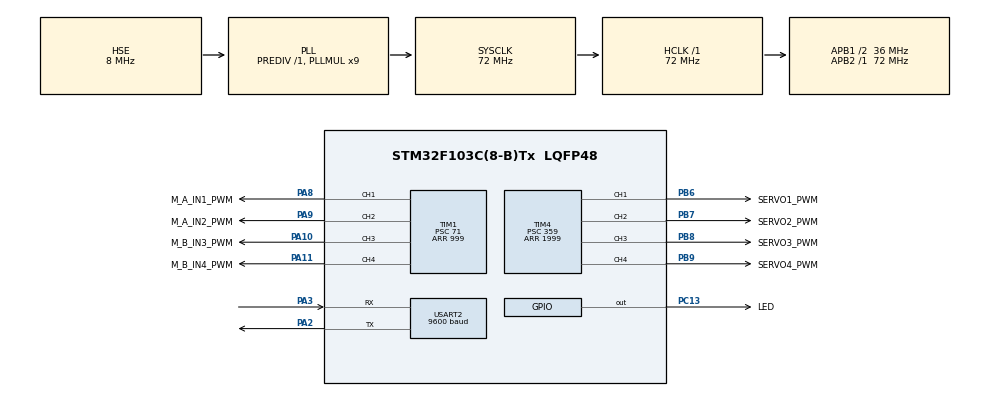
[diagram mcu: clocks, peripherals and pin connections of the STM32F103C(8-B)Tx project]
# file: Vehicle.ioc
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Mcu.Family=STM32F1
Mcu.Name=STM32F103C(8-B)Tx
Mcu.Package=LQFP48
NVIC.PriorityGroup=NVIC_PRIORITYGROUP_4
NVIC.USART2_IRQn=true\:0\:0\:false\:false\:true\:true\:true\:true
PA10.GPIO_Label=M_B_IN3_PWM
PA10.Signal=S_TIM1_CH3
PA11.GPIO_Label=M_B_IN4_PWM
PA11.Signal=S_TIM1_CH4
PA13.Mode=Serial_Wire
PA13.Signal=SYS_JTMS-SWDIO
PA14.Mode=Serial_Wire
PA14.Signal=SYS_JTCK-SWCLK
PA2.Mode=Asynchronous
PA2.Signal=USART2_TX
PA3.Mode=Asynchronous
PA3.Signal=USART2_RX
PA8.GPIO_Label=M_A_IN1_PWM
PA8.Signal=S_TIM1_CH1
PA9.GPIO_Label=M_A_IN2_PWM
PA9.Signal=S_TIM1_CH2
PB6.GPIO_Label=SERVO1_PWM
PB6.Signal=S_TIM4_CH1
PB7.GPIO_Label=SERVO2_PWM
PB7.Signal=S_TIM4_CH2
PB8.GPIO_Label=SERVO3_PWM
PB8.Signal=S_TIM4_CH3
PB9.GPIO_Label=SERVO4_PWM
PB9.Signal=S_TIM4_CH4
PC13-TAMPER-RTC.GPIO_Label=LED
PC13-TAMPER-RTC.Signal=GPIO_Output
PD0-OSC_IN.Mode=HSE-External-Oscillator
PD0-OSC_IN.Signal=RCC_OSC_IN
PD1-OSC_OUT.Mode=HSE-External-Oscillator
PD1-OSC_OUT.Signal=RCC_OSC_OUT
ProjectManager.HeapSize=0x200
ProjectManager.StackSize=0x400
ProjectManager.TargetToolchain=STM32CubeIDE
RCC.AHBFreq_Value=72000000
RCC.APB1CLKDivider=RCC_HCLK_DIV2
RCC.APB1Freq_Value=36000000
RCC.APB1TimFreq_Value=72000000
RCC.APB2Freq_Value=72000000
RCC.APB2TimFreq_Value=72000000
RCC.HCLKFreq_Value=72000000
RCC.PLLMUL=RCC_PLL_MUL9
RCC.PLLSourceVirtual=RCC_PLLSOURCE_HSE
RCC.SYSCLKFreq_VALUE=72000000
RCC.SYSCLKSource=RCC_SYSCLKSOURCE_PLLCLK
RCC.USBFreq_Value=72000000
SH.S_TIM1_CH1.0=TIM1_CH1,PWM Generation1 CH1
SH.S_TIM1_CH2.0=TIM1_CH2,PWM Generation2 CH2
SH.S_TIM1_CH3.0=TIM1_CH3,PWM Generation3 CH3
SH.S_TIM1_CH4.0=TIM1_CH4,PWM Generation4 CH4
SH.S_TIM4_CH1.0=TIM4_CH1,PWM Generation1 CH1
SH.S_TIM4_CH2.0=TIM4_CH2,PWM Generation2 CH2
SH.S_TIM4_CH3.0=TIM4_CH3,PWM Generation3 CH3
SH.S_TIM4_CH4.0=TIM4_CH4,PWM Generation4 CH4
TIM1.Channel-PWM\ Generation1\ CH1=TIM_CHANNEL_1
TIM1.Channel-PWM\ Generation2\ CH2=TIM_CHANNEL_2
TIM1.Channel-PWM\ Generation3\ CH3=TIM_CHANNEL_3
TIM1.Channel-PWM\ Generation4\ CH4=TIM_CHANNEL_4
TIM1.Period=999
TIM1.Prescaler=71
TIM4.Channel-PWM\ Generation1\ CH1=TIM_CHANNEL_1
TIM4.Channel-PWM\ Generation2\ CH2=TIM_CHANNEL_2
TIM4.Channel-PWM\ Generation3\ CH3=TIM_CHANNEL_3
TIM4.Channel-PWM\ Generation4\ CH4=TIM_CHANNEL_4
TIM4.Period=1999
TIM4.Prescaler=359
TIM4.Pulse-PWM\ Generation1\ CH1=150
USART2.BaudRate=9600
USART2.VirtualMode=VM_ASYNC
VP_TIM1_VS_ClockSourceINT.Mode=Internal
VP_TIM4_VS_ClockSourceINT.Mode=Internal
board=custom

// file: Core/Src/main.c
/* USER CODE BEGIN Header */
/**
  ******************************************************************************
  * @file           : main.c
  * @brief          : Main program body
  ******************************************************************************
  * @attention
  *
  * Copyright (c) 2025 STMicroelectronics.
  * All rights reserved.
  *
  * This software is licensed under terms that can be found in the LICENSE file
  * in the root directory of this software component.
  * If no LICENSE file comes with this software, it is provided AS-IS.
  *
  ******************************************************************************
  */
/* USER CODE END Header */
#include "main.h"

/* USER CODE BEGIN Includes */
#include <string.h> // Để dùng strlen, strcpy, strncpy
#include <stdlib.h> // Để dùng atoi
#include <stdbool.h>
#include <stdio.h>
/* USER CODE END Includes */

TIM_HandleTypeDef htim1;
TIM_HandleTypeDef htim4;

UART_HandleTypeDef huart2;

/* USER CODE BEGIN PV */
#define RX_COMMAND_BUFFER_SIZE 32 // Kích thước buffer nhận lệnh
uint8_t uart_rx_char_buffer[1];   // Buffer nhận từng ký tự
uint8_t command_line_buffer[RX_COMMAND_BUFFER_SIZE];
uint8_t command_line_idx = 0;

uint16_t car_motor_speed = 255; // Tốc độ xe (0-255)

/* USER CODE END PV */

void SystemClock_Config(void);
static void MX_GPIO_Init(void);
static void MX_USART2_UART_Init(void);
static void MX_TIM1_Init(void);
static void MX_TIM4_Init(void);
/* USER CODE BEGIN PFP */
void moveForward(uint16_t speed);
void moveBackward(uint16_t speed);
void turnLeft(uint16_t speed);
void turnRight(uint16_t speed);
void stopMotors(void);
void process_command(char* cmd_str);
void set_servo_angle(uint8_t servo_num, uint8_t angle);
long map_value(long x, long in_min, long in_max, long out_min, long out_max); // Cần hàm map này
/* USER CODE END PFP */

int main(void)
{

  /* MCU Configuration--------------------------------------------------------*/

  /* Reset of all peripherals, Initializes the Flash interface and the Systick. */
  HAL_Init();

  /* Configure the system clock */
  SystemClock_Config();

  /* Initialize all configured peripherals */
  MX_GPIO_Init();
  MX_USART2_UART_Init();
  MX_TIM1_Init();
  MX_TIM4_Init();
  /* USER CODE BEGIN 2 */
  // Khởi động PWM cho L298N ENA/ENB
  HAL_TIM_PWM_Start(&htim1, TIM_CHANNEL_1); // M_A_IN1_PWM (PA8)
  HAL_TIM_PWM_Start(&htim1, TIM_CHANNEL_2); // M_A_IN2_PWM (PA9)
  HAL_TIM_PWM_Start(&htim1, TIM_CHANNEL_3); // M_B_IN3_PWM (PA10)
  HAL_TIM_PWM_Start(&htim1, TIM_CHANNEL_4); // M_B_IN4_PWM (PA11)

   stopMotors(); // Hàm này sẽ đặt ENA/ENB pulse về 0

   // Khởi động PWM cho 4 Servo
   HAL_TIM_PWM_Start(&htim4, TIM_CHANNEL_1); // Servo 1 trên PB6
   HAL_TIM_PWM_Start(&htim4, TIM_CHANNEL_2); // Servo 2 trên PB7
   HAL_TIM_PWM_Start(&htim4, TIM_CHANNEL_3); // Servo 3 trên PB8
   HAL_TIM_PWM_Start(&htim4, TIM_CHANNEL_4); // Servo 4 trên PB9

   // Đặt servo về vị trí giữa (90 độ) ban đầu
   set_servo_angle(1, 00);
   set_servo_angle(2, 30);
   set_servo_angle(3, 30);
   set_servo_angle(4, 00);
  /* USER CODE END 2 */

  /* Infinite loop */
  /* USER CODE BEGIN WHILE */
  while (1)
  {
	  // Nhận dữ liệu từ UART (HC-05) từng ký tự một
	   if (HAL_UART_Receive(&huart2, uart_rx_char_buffer, 1, 1) == HAL_OK) { // Timeout nhỏ
	     if (uart_rx_char_buffer[0] == '\n') { // Nếu là ký tự kết thúc lệnh
	       if (command_line_idx > 0) { // Nếu đã có dữ liệu trong buffer
	         command_line_buffer[command_line_idx] = '\0'; // Kết thúc chuỗi

	         // --- DEBUG trên bluetooth terminal  ---
	         char debug_received_line[RX_COMMAND_BUFFER_SIZE + 30];
	         sprintf(debug_received_line, "Car RX Line: [%s] (len:%d)\r\n", (char*)command_line_buffer, strlen((char*)command_line_buffer));
	         HAL_UART_Transmit(&huart2, (uint8_t*)debug_received_line, strlen(debug_received_line), 100);
	         // ------------------------

	         process_command((char*)command_line_buffer);
	         command_line_idx = 0; // Reset buffer cho lệnh tiếp theo
	       } else {
	         // Nhận được \n rỗng, có thể bỏ qua hoặc reset command_line_idx
	         command_line_idx = 0;
	       }
	     } else if (command_line_idx < RX_COMMAND_BUFFER_SIZE - 1) {
	       if(uart_rx_char_buffer[0] != '\r'){ // Bỏ qua ký tự \r nếu có
	            command_line_buffer[command_line_idx++] = uart_rx_char_buffer[0];
	       }
	     } else {
	       // Tràn buffer, reset
	       HAL_UART_Transmit(&huart2, (uint8_t*)"RX Buffer Overflow!\r\n", 20, 100);
	       command_line_idx = 0;
	     }
	     }
    /* USER CODE END WHILE */

  }
}

void SystemClock_Config(void)
{
  RCC_OscInitTypeDef RCC_OscInitStruct = {0};
  RCC_ClkInitTypeDef RCC_ClkInitStruct = {0};

  /** Initializes the RCC Oscillators according to the specified parameters
  * in the RCC_OscInitTypeDef structure.
  */
  RCC_OscInitStruct.OscillatorType = RCC_OSCILLATORTYPE_HSE;
  RCC_OscInitStruct.HSEState = RCC_HSE_ON;
  RCC_OscInitStruct.HSEPredivValue = RCC_HSE_PREDIV_DIV1;
  RCC_OscInitStruct.HSIState = RCC_HSI_ON;
  RCC_OscInitStruct.PLL.PLLState = RCC_PLL_ON;
  RCC_OscInitStruct.PLL.PLLSource = RCC_PLLSOURCE_HSE;
  RCC_OscInitStruct.PLL.PLLMUL = RCC_PLL_MUL9;
  if (HAL_RCC_OscConfig(&RCC_OscInitStruct) != HAL_OK)
  {
    Error_Handler();
  }

  /** Initializes the CPU, AHB and APB buses clocks
  */
  RCC_ClkInitStruct.ClockType = RCC_CLOCKTYPE_HCLK|RCC_CLOCKTYPE_SYSCLK
                              |RCC_CLOCKTYPE_PCLK1|RCC_CLOCKTYPE_PCLK2;
  RCC_ClkInitStruct.SYSCLKSource = RCC_SYSCLKSOURCE_PLLCLK;
  RCC_ClkInitStruct.AHBCLKDivider = RCC_SYSCLK_DIV1;
  RCC_ClkInitStruct.APB1CLKDivider = RCC_HCLK_DIV2;
  RCC_ClkInitStruct.APB2CLKDivider = RCC_HCLK_DIV1;

  if (HAL_RCC_ClockConfig(&RCC_ClkInitStruct, FLASH_LATENCY_2) != HAL_OK)
  {
    Error_Handler();
  }
}

static void MX_TIM1_Init(void)
{

  TIM_ClockConfigTypeDef sClockSourceConfig = {0};
  TIM_MasterConfigTypeDef sMasterConfig = {0};
  TIM_OC_InitTypeDef sConfigOC = {0};
  TIM_BreakDeadTimeConfigTypeDef sBreakDeadTimeConfig = {0};

  htim1.Instance = TIM1;
  htim1.Init.Prescaler = 71;
  htim1.Init.CounterMode = TIM_COUNTERMODE_UP;
  htim1.Init.Period = 999;
  htim1.Init.ClockDivision = TIM_CLOCKDIVISION_DIV1;
  htim1.Init.RepetitionCounter = 0;
  htim1.Init.AutoReloadPreload = TIM_AUTORELOAD_PRELOAD_DISABLE;
  if (HAL_TIM_Base_Init(&htim1) != HAL_OK)
  {
    Error_Handler();
  }
  sClockSourceConfig.ClockSource = TIM_CLOCKSOURCE_INTERNAL;
  if (HAL_TIM_ConfigClockSource(&htim1, &sClockSourceConfig) != HAL_OK)
  {
    Error_Handler();
  }
  if (HAL_TIM_PWM_Init(&htim1) != HAL_OK)
  {
    Error_Handler();
  }
  sMasterConfig.MasterOutputTrigger = TIM_TRGO_RESET;
  sMasterConfig.MasterSlaveMode = TIM_MASTERSLAVEMODE_DISABLE;
  if (HAL_TIMEx_MasterConfigSynchronization(&htim1, &sMasterConfig) != HAL_OK)
  {
    Error_Handler();
  }
  sConfigOC.OCMode = TIM_OCMODE_PWM1;
  sConfigOC.Pulse = 0;
  sConfigOC.OCPolarity = TIM_OCPOLARITY_HIGH;
  sConfigOC.OCNPolarity = TIM_OCNPOLARITY_HIGH;
  sConfigOC.OCFastMode = TIM_OCFAST_DISABLE;
  sConfigOC.OCIdleState = TIM_OCIDLESTATE_RESET;
  sConfigOC.OCNIdleState = TIM_OCNIDLESTATE_RESET;
  if (HAL_TIM_PWM_ConfigChannel(&htim1, &sConfigOC, TIM_CHANNEL_1) != HAL_OK)
  {
    Error_Handler();
  }
  if (HAL_TIM_PWM_ConfigChannel(&htim1, &sConfigOC, TIM_CHANNEL_2) != HAL_OK)
  {
    Error_Handler();
  }
  if (HAL_TIM_PWM_ConfigChannel(&htim1, &sConfigOC, TIM_CHANNEL_3) != HAL_OK)
  {
    Error_Handler();
  }
  if (HAL_TIM_PWM_ConfigChannel(&htim1, &sConfigOC, TIM_CHANNEL_4) != HAL_OK)
  {
    Error_Handler();
  }
  sBreakDeadTimeConfig.OffStateRunMode = TIM_OSSR_DISABLE;
  sBreakDeadTimeConfig.OffStateIDLEMode = TIM_OSSI_DISABLE;
  sBreakDeadTimeConfig.LockLevel = TIM_LOCKLEVEL_OFF;
  sBreakDeadTimeConfig.DeadTime = 0;
  sBreakDeadTimeConfig.BreakState = TIM_BREAK_DISABLE;
  sBreakDeadTimeConfig.BreakPolarity = TIM_BREAKPOLARITY_HIGH;
  sBreakDeadTimeConfig.AutomaticOutput = TIM_AUTOMATICOUTPUT_DISABLE;
  if (HAL_TIMEx_ConfigBreakDeadTime(&htim1, &sBreakDeadTimeConfig) != HAL_OK)
  {
    Error_Handler();
  }
  HAL_TIM_MspPostInit(&htim1);

}

static void MX_TIM4_Init(void)
{

  TIM_ClockConfigTypeDef sClockSourceConfig = {0};
  TIM_MasterConfigTypeDef sMasterConfig = {0};
  TIM_OC_InitTypeDef sConfigOC = {0};

  htim4.Instance = TIM4;
  htim4.Init.Prescaler = 359;
  htim4.Init.CounterMode = TIM_COUNTERMODE_UP;
  htim4.Init.Period = 1999;
  htim4.Init.ClockDivision = TIM_CLOCKDIVISION_DIV1;
  htim4.Init.AutoReloadPreload = TIM_AUTORELOAD_PRELOAD_DISABLE;
  if (HAL_TIM_Base_Init(&htim4) != HAL_OK)
  {
    Error_Handler();
  }
  sClockSourceConfig.ClockSource = TIM_CLOCKSOURCE_INTERNAL;
  if (HAL_TIM_ConfigClockSource(&htim4, &sClockSourceConfig) != HAL_OK)
  {
    Error_Handler();
  }
  if (HAL_TIM_PWM_Init(&htim4) != HAL_OK)
  {
    Error_Handler();
  }
  sMasterConfig.MasterOutputTrigger = TIM_TRGO_RESET;
  sMasterConfig.MasterSlaveMode = TIM_MASTERSLAVEMODE_DISABLE;
  if (HAL_TIMEx_MasterConfigSynchronization(&htim4, &sMasterConfig) != HAL_OK)
  {
    Error_Handler();
  }
  sConfigOC.OCMode = TIM_OCMODE_PWM1;
  sConfigOC.Pulse = 150;
  sConfigOC.OCPolarity = TIM_OCPOLARITY_HIGH;
  sConfigOC.OCFastMode = TIM_OCFAST_DISABLE;
  if (HAL_TIM_PWM_ConfigChannel(&htim4, &sConfigOC, TIM_CHANNEL_1) != HAL_OK)
  {
    Error_Handler();
  }
  sConfigOC.Pulse = 0;
  if (HAL_TIM_PWM_ConfigChannel(&htim4, &sConfigOC, TIM_CHANNEL_2) != HAL_OK)
  {
    Error_Handler();
  }
  if (HAL_TIM_PWM_ConfigChannel(&htim4, &sConfigOC, TIM_CHANNEL_3) != HAL_OK)
  {
    Error_Handler();
  }
  if (HAL_TIM_PWM_ConfigChannel(&htim4, &sConfigOC, TIM_CHANNEL_4) != HAL_OK)
  {
    Error_Handler();
  }
  HAL_TIM_MspPostInit(&htim4);

}

static void MX_USART2_UART_Init(void)
{

  huart2.Instance = USART2;
  huart2.Init.BaudRate = 9600;
  huart2.Init.WordLength = UART_WORDLENGTH_8B;
  huart2.Init.StopBits = UART_STOPBITS_1;
  huart2.Init.Parity = UART_PARITY_NONE;
  huart2.Init.Mode = UART_MODE_TX_RX;
  huart2.Init.HwFlowCtl = UART_HWCONTROL_NONE;
  huart2.Init.OverSampling = UART_OVERSAMPLING_16;
  if (HAL_UART_Init(&huart2) != HAL_OK)
  {
    Error_Handler();
  }

}

static void MX_GPIO_Init(void)
{
  GPIO_InitTypeDef GPIO_InitStruct = {0};

  /* GPIO Ports Clock Enable */
  __HAL_RCC_GPIOC_CLK_ENABLE();
  __HAL_RCC_GPIOD_CLK_ENABLE();
  __HAL_RCC_GPIOA_CLK_ENABLE();
  __HAL_RCC_GPIOB_CLK_ENABLE();

  /*Configure GPIO pin Output Level */
  HAL_GPIO_WritePin(LED_GPIO_Port, LED_Pin, GPIO_PIN_RESET);

  /*Configure GPIO pin : LED_Pin */
  GPIO_InitStruct.Pin = LED_Pin;
  GPIO_InitStruct.Mode = GPIO_MODE_OUTPUT_PP;
  GPIO_InitStruct.Pull = GPIO_NOPULL;
  GPIO_InitStruct.Speed = GPIO_SPEED_FREQ_LOW;
  HAL_GPIO_Init(LED_GPIO_Port, &GPIO_InitStruct);

}

/* USER CODE BEGIN 4 */
#define MAX_MOTOR_PWM 999
void moveForward(uint16_t speed) {
    uint16_t pwm_value = map_value(speed, 0, 255, 0, MAX_MOTOR_PWM);

    // Motor A tiến: IN1 có PWM, IN2 là LOW (PWM=0)
    __HAL_TIM_SET_COMPARE(&htim1, TIM_CHANNEL_1, pwm_value); // IN1 (PA0)
    __HAL_TIM_SET_COMPARE(&htim1, TIM_CHANNEL_2, 0);         // IN2 (PA1)

    // Motor B tiến: IN3 có PWM, IN4 là LOW (PWM=0)
    __HAL_TIM_SET_COMPARE(&htim1, TIM_CHANNEL_3, pwm_value); // IN3 (PA6)
    __HAL_TIM_SET_COMPARE(&htim1, TIM_CHANNEL_4, 0);         // IN4 (PA7)
}

void moveBackward(uint16_t speed) {
    uint16_t pwm_value = map_value(speed, 0, 255, 0, MAX_MOTOR_PWM);

    // Motor A lùi: IN1 là LOW, IN2 có PWM
    __HAL_TIM_SET_COMPARE(&htim1, TIM_CHANNEL_1, 0);         // IN1 (PA0)
    __HAL_TIM_SET_COMPARE(&htim1, TIM_CHANNEL_2, pwm_value); // IN2 (PA1)

    // Motor B lùi: IN3 là LOW, IN4 có PWM
    __HAL_TIM_SET_COMPARE(&htim1, TIM_CHANNEL_3, 0);         // IN3 (PA6)
    __HAL_TIM_SET_COMPARE(&htim1, TIM_CHANNEL_4, pwm_value); // IN4 (PA7)
}

void turnLeft(uint16_t speed) {
    uint16_t pwm_value = map_value(speed, 0, 255, 0, MAX_MOTOR_PWM);

    // Rẽ trái: Motor phải (A) tiến, Motor trái (B) dừng
    // Motor A tiến
    __HAL_TIM_SET_COMPARE(&htim1, TIM_CHANNEL_1, pwm_value);
    __HAL_TIM_SET_COMPARE(&htim1, TIM_CHANNEL_2, 0);
    // Motor B lùi
    __HAL_TIM_SET_COMPARE(&htim1, TIM_CHANNEL_3, 0);
    __HAL_TIM_SET_COMPARE(&htim1, TIM_CHANNEL_4, 0);
}

void turnRight(uint16_t speed) {
    uint16_t pwm_value = map_value(speed, 0, 255, 0, MAX_MOTOR_PWM);

    // Rẽ phải: Motor trái (B) tiến, Motor phải (A) dừng
    // Motor A lùi
    __HAL_TIM_SET_COMPARE(&htim1, TIM_CHANNEL_1, 0);
    __HAL_TIM_SET_COMPARE(&htim1, TIM_CHANNEL_2,0);
    // Motor B tiến
    __HAL_TIM_SET_COMPARE(&htim1, TIM_CHANNEL_3, pwm_value);
    __HAL_TIM_SET_COMPARE(&htim1, TIM_CHANNEL_4, 0);
}

void stopMotors() {
    // Dừng cả 2 motor bằng cách đặt tất cả PWM về 0 (phanh động)
    __HAL_TIM_SET_COMPARE(&htim1, TIM_CHANNEL_1, 0); // IN1
    __HAL_TIM_SET_COMPARE(&htim1, TIM_CHANNEL_2, 0); // IN2
    __HAL_TIM_SET_COMPARE(&htim1, TIM_CHANNEL_3, 0); // IN3
    __HAL_TIM_SET_COMPARE(&htim1, TIM_CHANNEL_4, 0); // IN4
}
long map_value(long x, long in_min, long in_max, long out_min, long out_max) {
  if (in_max == in_min) return out_min; // Tránh chia cho 0
  return (x - in_min) * (out_max - out_min) / (in_max - in_min) + out_min;
}

// servo_num: 1 đến 4
// angle: 0 đến 180
// Giả sử TIM3 được dùng cho cả 4 servo
// Kênh 1 cho Servo1, Kênh 2 cho Servo2, ...
void set_servo_angle(uint8_t servo_num, uint8_t angle) {
    if (angle > 180) angle = 180; // Giới hạn góc

    // Giả sử APB1 Timer Clock = 36MHz, PSC=359 (tick 10µs), ARR=1999
    // Pulse 1ms (0 deg) -> CCR = 100
    // Pulse 2ms (180 deg) -> CCR = 200
    uint16_t pulse_min = 70;
    uint16_t pulse_max = 420;
    uint16_t pulse_value = map_value(angle, 0, 180, pulse_min, pulse_max);

    uint32_t channel = 0;
    switch (servo_num) {
        case 1: channel = TIM_CHANNEL_1; break;
        case 2: channel = TIM_CHANNEL_2; break;
        case 3: channel = TIM_CHANNEL_3; break;
        case 4: channel = TIM_CHANNEL_4; break;
        default: return; // Servo không hợp lệ
    }
    __HAL_TIM_SET_COMPARE(&htim4, channel, pulse_value);
}
void process_command(char* cmd_str) {
    if (cmd_str == NULL || strlen(cmd_str) == 0) {
        return;
    }

    //HAL_UART_Transmit(&huart2, (uint8_t*)cmd_str, strlen(cmd_str), 100); // Echo lại để debug
    //HAL_UART_Transmit(&huart2, (uint8_t*)"\r\n", 2, 100);

    // Xử lý lệnh điều khiển xe (ký tự đơn)
    if (strlen(cmd_str) == 1) {
        switch (cmd_str[0]) {
            case 'F':
            	HAL_GPIO_TogglePin(GPIOC, LED_Pin);
                moveForward(car_motor_speed); // Giả sử bạn có hàm này
                HAL_UART_Transmit(&huart2, (uint8_t*)"Car: FWD\r\n", 10, 100);
                break;
            case 'B':
            	HAL_GPIO_TogglePin(GPIOC, LED_Pin);
                moveBackward(car_motor_speed);
                HAL_UART_Transmit(&huart2, (uint8_t*)"Car: BWD\r\n", 10, 100);
                break;
            case 'L':
            	HAL_GPIO_TogglePin(GPIOC, LED_Pin);
                turnLeft(car_motor_speed);
                HAL_UART_Transmit(&huart2, (uint8_t*)"Car: LEFT\r\n", 11, 100);
                break;
            case 'R':
            	HAL_GPIO_TogglePin(GPIOC, LED_Pin);
                turnRight(car_motor_speed);
                HAL_UART_Transmit(&huart2, (uint8_t*)"Car: RIGHT\r\n", 12, 100);
                break;
            case 'S':
                stopMotors();
                HAL_UART_Transmit(&huart2, (uint8_t*)"Car: STOP\r\n", 11, 100);
                break;
            default:
                // Lệnh xe không xác định
                break;
        }
    }
    // Xử lý lệnh điều khiển servo (bắt đầu bằng 'V', theo sau là 12 chữ số)
    // Ví dụ: "V090120045180"
    else if (cmd_str[0] == 'V' && strlen(cmd_str) == 13) { // 'V' + 4 * 3 digits
        char angle_substr[4]; // 3 digits + null terminator
        uint8_t s_angles[4];
        bool parse_ok = true;

        for (int i = 0; i < 4; i++) {
            strncpy(angle_substr, &cmd_str[1 + i * 3], 3);
            angle_substr[3] = '\0';
            s_angles[i] = atoi(angle_substr);
            if (s_angles[i] > 180) { // Kiểm tra giá trị góc hợp lệ
                 // s_angles[i] = 180; // Hoặc báo lỗi
                 parse_ok = false; break;
                 HAL_GPIO_TogglePin(GPIOC,LED_Pin);
            }
        }

        if(parse_ok){
            set_servo_angle(1, s_angles[0]);
            set_servo_angle(2, s_angles[1]);
            set_servo_angle(3, s_angles[2]);
            set_servo_angle(4, s_angles[3]);

            // (Tùy chọn) Gửi lại xác nhận hoặc giá trị góc đã nhận để debug
            // char debug_msg[50];
            // sprintf(debug_msg, "Servo set: %03d %03d %03d %03d\r\n", s_angles[0],s_angles[1],s_angles[2],s_angles[3]);
            // HAL_UART_Transmit(&huart2, (uint8_t*)debug_msg, strlen(debug_msg), 100);
        } else {
            HAL_UART_Transmit(&huart2, (uint8_t*)"Servo Angle Error\r\n", 19, 100);
        }

    } else {
        // Lệnh không xác định
        // char unk_msg[30];
        // sprintf(unk_msg, "Unknown CMD: %s\r\n", cmd_str);
        // HAL_UART_Transmit(&huart2, (uint8_t*)unk_msg, strlen(unk_msg), 100);
    }
}
/* USER CODE END 4 */

void Error_Handler(void)
{
  __disable_irq();
  while (1)
  {
  }
}
